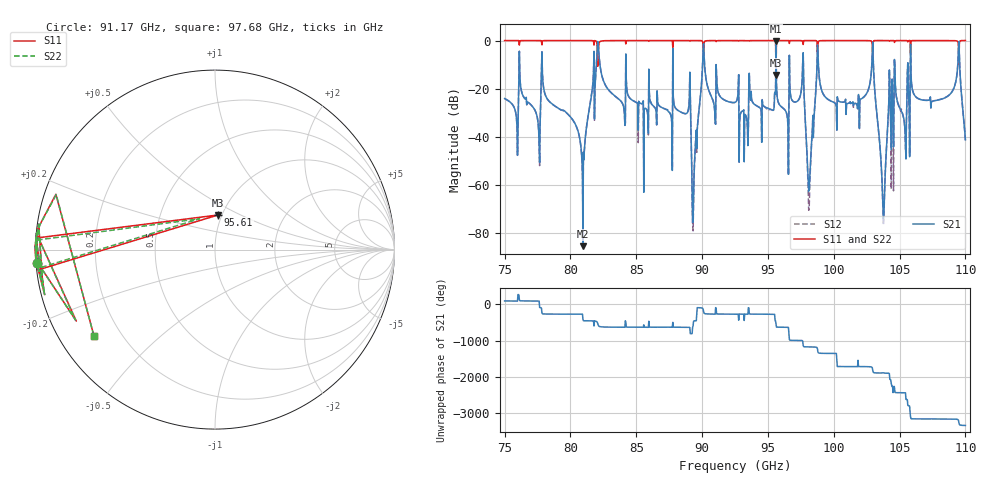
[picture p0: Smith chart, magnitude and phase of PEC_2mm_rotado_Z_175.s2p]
! TOUCHSTONE file generated by CST MICROWAVE STUDIO
! Date and time: Fri Feb 16 17:58:35 2024
! Project name: metal_rotado.cst
! Parameters = {angX=1.75; angY=2}
! Header version: 2018
! Port assignment regex: !\s*Touchstone port\s*([0-9]+)\s*=\s*(CST MWS port|CST DS port)\s*([0-9]+|Zmin|Zmax)\s*\(\"(.*)\"\)(\s*mode\s*([0-9]+))?.*
! Touchstone port assignment:
! Touchstone port 1 = CST MWS port 1 ("")
! Touchstone port 2 = CST MWS port 2 ("")
# GHz S MA R 376.7
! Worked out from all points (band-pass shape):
!   1001 points, 75 GHz to 110 GHz, reference 376.7 ohm
!   highest |S21| = -0.17 dB at 95.61 GHz (marker M1); lowest = -85.3 dB at 80.95 GHz (marker M2)
!   |S21| within 3 dB of the highest: 82.04069 GHz to 82.13174 GHz (91.04 MHz wide, 0.111 % of centre); 90.08093 GHz to 90.13298 GHz (52.05 MHz wide, 0.0578 % of centre)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
!   lowest |S11| = -14.3 dB at 95.61 GHz (marker M3), VSWR 1.48, Z = 362 + j145 ohm
!   |S11| at or under -10 dB: 82.06716 GHz to 82.07698 GHz (9.82 MHz wide, 0.012 % of centre); 95.60454 GHz to 95.62549 GHz (20.95 MHz wide, 0.0219 % of centre)
!   |S22| runs from -14.3 to 0.0 dB; largest |S21 - S12| = 0.014
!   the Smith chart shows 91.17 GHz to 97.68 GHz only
!   S11 on the Smith chart (normalised r, x): 91.17 GHz: 0.00, -0.04; 95.61 GHz: 0.96, +0.39; 97.68 GHz: 0.10, -0.32
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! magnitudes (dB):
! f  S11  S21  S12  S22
! 75 GHz  0.0  -24.1  -24.1  0.0
! 77.52 GHz  0.0  -33.2  -33.2  0.0
! 77.94 GHz  0.0  -18.8  -18.8  -0.1
! 80.84 GHz  0.0  -47.1  -47.2  0.0
! 80.95 GHz  0.0  -85.3  -73.5  0.0
! 82.11 GHz  -7.3  -0.9  -0.9  -7.3
! 86.69 GHz  0.0  -26.7  -26.7  0.0
! 88.97 GHz  0.0  -28.5  -28.5  0.0
! 89.35 GHz  0.0  -66.4  -67.4  0.0
! 90.08 GHz  -3.6  -2.5  -2.5  -3.6
! 91.17 GHz  0.0  -20.1  -20.1  0.0
! 92.5 GHz  0.0  -25.6  -25.6  0.0
! 95.61 GHz  -14.3  -0.2  -0.2  -14.3
! 97.68 GHz  -1.6  -5.0  -5.0  -1.6
! 98.06 GHz  0.0  -59.5  -64.4  0.0
! 98.34 GHz  0.0  -39.8  -40.4  0.0
! 98.83 GHz  -0.4  -10.1  -10.1  -0.4
! 102.9 GHz  -1.9  -4.6  -4.6  -1.9
! 103.8 GHz  0.0  -73.7  -76.6  0.0
! 104.2 GHz  0.0  -24.1  -24.2  0.0
! 109.4 GHz  -0.7  -8.4  -8.3  -0.7
! 110 GHz  0.0  -41.2  -41.3  0.0
